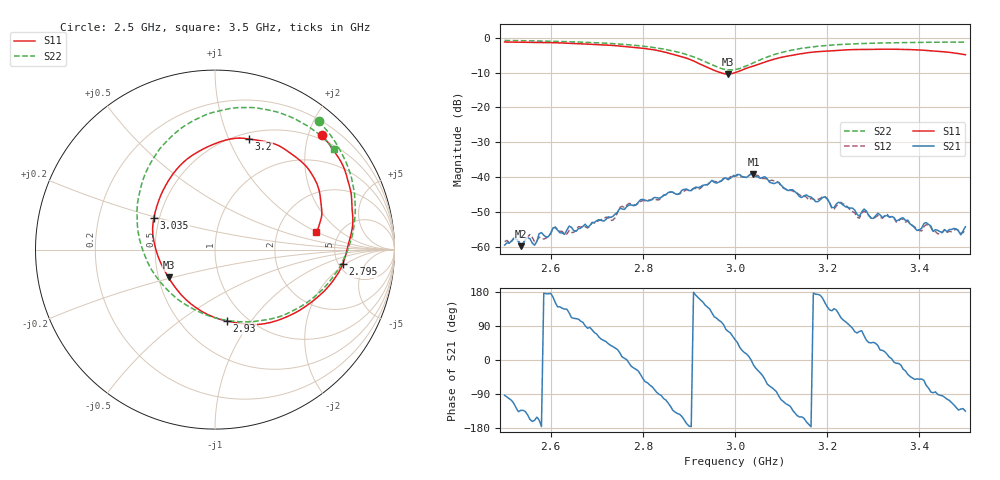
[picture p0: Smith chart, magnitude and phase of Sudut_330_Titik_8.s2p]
# Hz S RI R 50
! CMT, C1220, 16058040, 17.2.0/1
! Date: 15/08/2018 09:59:01
! Data: Format (Calibration Info)
! Freq  S11: Re/Im (F2)  S21: Re/Im (F2)  S12: Re/Im (F2)  S22: Re/Im (F2)
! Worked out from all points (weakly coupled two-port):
!   201 points, 2.5 GHz to 3.5 GHz, reference 50 ohm
!   highest |S21| = -39.10 dB at 3.04 GHz (marker M1); lowest = -59.9 dB at 2.535 GHz (marker M2)
!   lowest |S11| = -10.4 dB at 2.985 GHz (marker M3), VSWR 1.87, Z = 28.2 - j9.65 ohm
!   |S11| at or under -10 dB: 2.969 GHz to 3 GHz (31.35 MHz wide, 1.05 % of centre)
!   |S22| runs from -9.2 to -0.7 dB; largest |S21 - S12| = 0.00089
!   S11 on the Smith chart (normalised r, x): 2.5 GHz: 0.42, +2.25; 2.795 GHz: 5.40, -1.82; 2.93 GHz: 0.81, -0.77; 3.035 GHz: 0.47, +0.20; 3.2 GHz: 0.56, +1.19; 3.5 GHz: 3.38, +0.96
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2.5e9  0.5975 0.6361  -5.69e-05 -0.00105  -7.05e-05 -0.00118  0.577 0.7141
2.535e9  0.6386 0.5839  -0.000689 -0.000742  -0.000744 -0.000743  0.6161 0.6713
2.605e9  0.7113 0.4712  -0.00179 0.000435  -0.00178 0.000472  0.6891 0.5669
2.63e9  0.732 0.4155  -0.00105 0.00107  -0.000889 0.00122  0.7127 0.5226
2.67e9  0.7573 0.32  -0.000315 0.00193  -0.000235 0.00194  0.7482 0.4399
2.795e9  0.7107 -0.0822  0.0037 -0.00291  0.00343 -0.0028  0.7639 0.0747
2.835e9  0.6103 -0.2295  -4.89e-05 -0.00496  0.000126 -0.0047  0.7039 -0.0792
2.93e9  0.0658 -0.3977  -0.00678 0.0034  -0.00677 0.00299  0.2547 -0.3957
2.985e9  -0.2589 -0.1553  0.00227 0.00886  0.00198 0.00902  -0.1761 -0.2994
3e9  -0.3117 -0.0525  0.00605 0.00825  0.00647 0.00792  -0.277 -0.212
3.035e9  -0.3401 0.1788  0.0111 -1.27e-05  0.0111 0.000119  -0.4197 0.0531
3.04e9  -0.3331 0.2102  0.0108 -0.00248  0.0111 -0.00217  -0.4279 0.0949
3.105e9  -0.1445 0.5128  -0.00236 -0.00664  -0.00245 -0.00648  -0.3261 0.5349
3.17e9  0.0947 0.6177  -0.00481 0.00029  -0.00479 -0.000136  -0.0724 0.7415
3.2e9  0.1899 0.6163  -0.00374 0.00307  -0.00365 0.0033  0.0392 0.7762
3.27e9  0.381 0.5644  0.000677 0.00263  0.000628 0.00248  0.2601 0.7846
3.28e9  0.4029 0.5493  0.0015 0.00312  0.00141 0.00291  0.2866 0.7799
3.335e9  0.5084 0.4639  0.00263 0.000347  0.00263 0.000265  0.4135 0.7424
3.395e9  0.5737 0.35  0.0011 -0.0013  0.00106 -0.00145  0.5224 0.684
3.415e9  0.5848 0.3052  0.000863 -0.00204  0.000855 -0.00187  0.5546 0.6614
3.49e9  0.5751 0.1204  -0.000936 -0.00114  -0.00102 -0.00115  0.6522 0.572
3.5e9  0.5641 0.096  -0.00136 -0.00136  -0.00132 -0.00118  0.6628 0.5598
